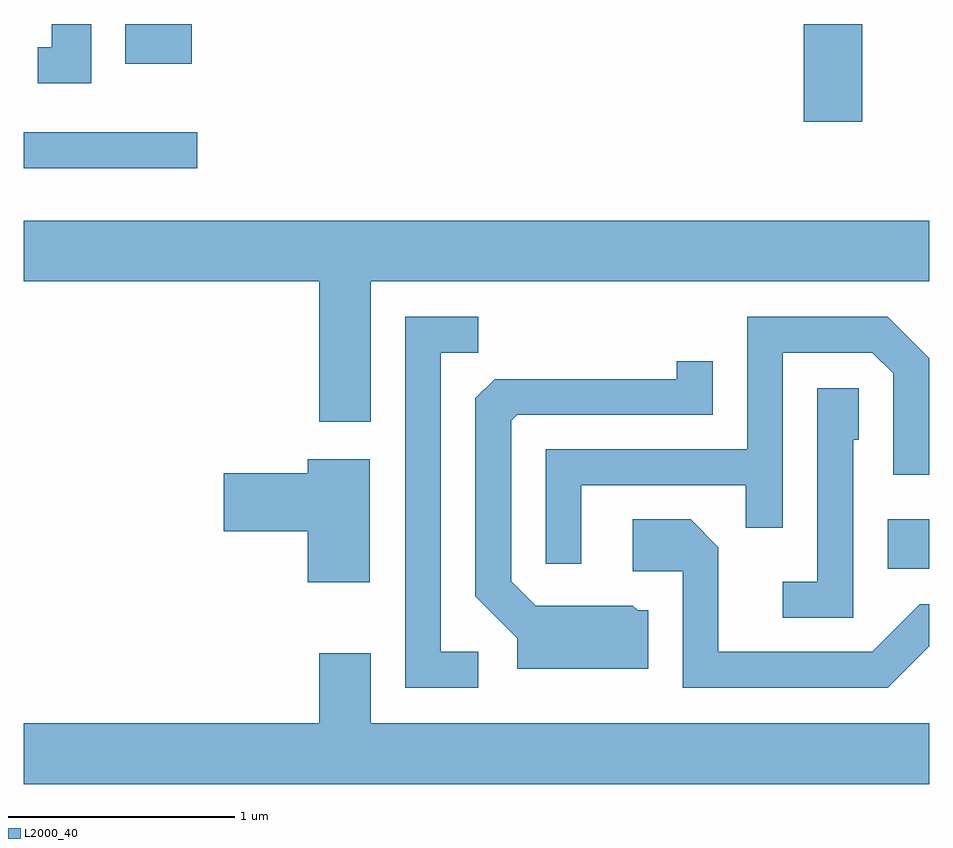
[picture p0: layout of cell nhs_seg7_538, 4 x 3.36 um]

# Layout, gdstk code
import gdstk
lib = gdstk.Library(unit=1e-6, precision=1e-09)
def R(c, l, rs):  # rectangles x0, y0, x1, y1
    for r in rs: c.add(gdstk.rectangle(r[:2], r[2:], *l))
def P(c, l, *ps):  # polygons
    for p in ps: c.add(gdstk.Polygon(p, *l))
L2000_40 = (2000, 40)

nhs_seg7_538 = lib.new_cell('nhs_seg7_538')
R(nhs_seg7_538, L2000_40, [(203.426,1801.846,203.611,1802.064), (199.611,1803.616,200.378,1803.774), (203.056,1803.821,203.314,1804.252), (200.061,1804.076,200.354,1804.252)])
P(nhs_seg7_538, L2000_40, [(199.909,1804.252),(199.736,1804.252),(199.736,1804.149),(199.673,1804.149),(199.673,1803.991),(199.909,1803.991)],
  [(201.144,1803.116),(203.611,1803.116),(203.611,1803.384),(199.611,1803.384),(199.611,1803.116),(200.916,1803.116),(200.916,1802.496),(201.144,1802.496)],
  [(202.074,1802.216),(202.801,1802.216),(202.801,1802.028),(202.964,1802.028),(202.964,1802.801),(203.359,1802.801),(203.451,1802.709),(203.451,1802.261),(203.611,1802.261),(203.611,1802.775),(203.427,1802.959),(202.806,1802.959),(202.806,1802.374),(201.916,1802.374),(201.916,1801.868),(202.074,1801.868)],
  [(201.618,1801.479),(201.454,1801.479),(201.454,1802.801),(201.618,1802.801),(201.618,1802.959),(201.296,1802.959),(201.296,1801.321),(201.618,1801.321)],
  [(202.369,1801.664),(202.322,1801.664),(202.302,1801.684),(201.872,1801.684),(201.764,1801.792),(201.764,1802.499),(201.792,1802.526),(202.654,1802.526),(202.654,1802.763),(202.496,1802.763),(202.496,1802.684),(201.692,1802.684),(201.606,1802.599),(201.606,1801.724),(201.791,1801.539),(201.791,1801.406),(202.369,1801.406)],
  [(203.274,1802.416),(203.299,1802.416),(203.299,1802.644),(203.116,1802.644),(203.116,1801.789),(202.963,1801.789),(202.963,1801.631),(203.274,1801.631)],
  [(201.139,1802.329),(200.866,1802.329),(200.866,1802.269),(200.496,1802.269),(200.496,1802.011),(200.866,1802.011),(200.866,1801.786),(201.139,1801.786)],
  [(203.611,1801.505),(203.611,1801.689),(203.569,1801.689),(203.359,1801.479),(202.679,1801.479),(202.679,1801.942),(202.557,1802.064),(202.301,1802.064),(202.301,1801.836),(202.521,1801.836),(202.521,1801.321),(203.427,1801.321)],
  [(203.611,1801.164),(201.144,1801.164),(201.144,1801.474),(200.916,1801.474),(200.916,1801.164),(199.611,1801.164),(199.611,1800.896),(203.611,1800.896)])

lib.write_gds('nhs_seg7_538.gds')
